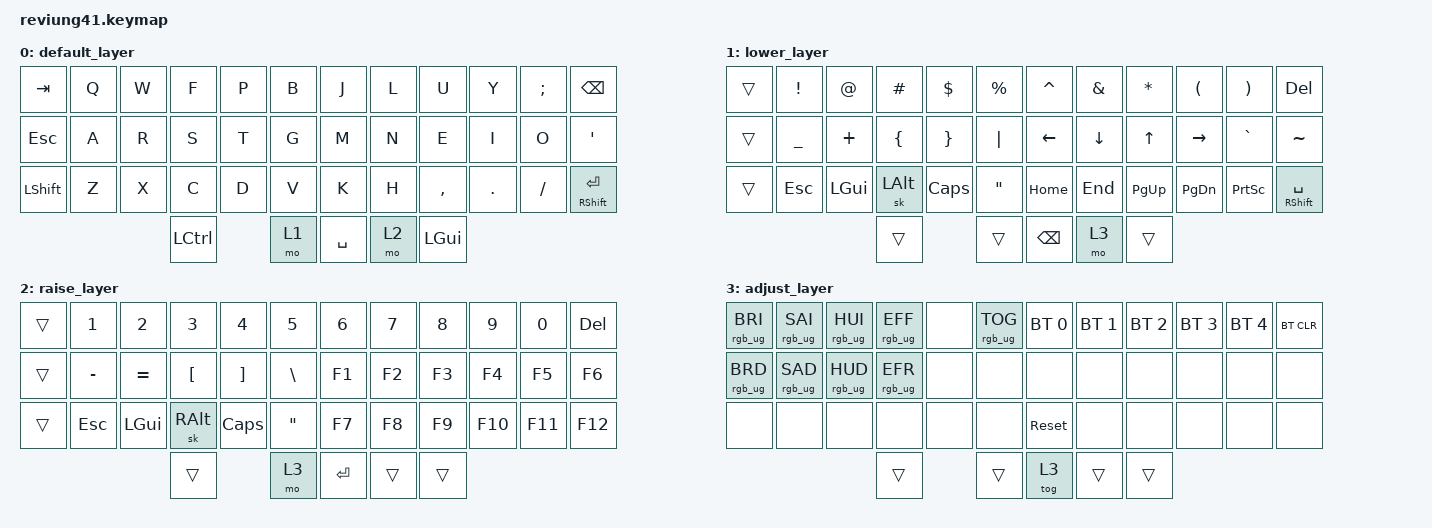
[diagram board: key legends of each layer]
/*
 * Copyright (c) 2020 The ZMK Contributors
 *
 * SPDX-License-Identifier: MIT
 */

#include <behaviors.dtsi>
#include <dt-bindings/zmk/keys.h>
#include <dt-bindings/zmk/bt.h>
#include <dt-bindings/zmk/rgb.h>

/ {
        keymap {
                compatible = "zmk,keymap";

                default_layer {
// -------------------------------------------------------------------------------------
// |  TAB |  Q  |  W  |  F  |  P  |  B  |   |  J  |  L   |  U  |  Y  |  ;  |   BSPC    |
// | ESC  |  A  |  R  |  S  |  T  |  G  |   |  M  |  N   |  E  |  I  |  O  |    '      |
// | SHFT |  Z  |  X  |  C  |  D  |  V  |   |  K  |  H   |  ,  |  .  |  /  | SHFT(RET) |
//                         | LCTRL | LWR | SPC | RSE  | LGUI |
                        bindings = <
   &kp TAB   &kp Q &kp W &kp F &kp P &kp B   &kp J &kp L  &kp U     &kp Y   &kp SEMI &kp BSPC
   &kp ESC   &kp A &kp R &kp S &kp T &kp G   &kp M &kp N  &kp E     &kp I   &kp O    &kp SQT
   &kp LSHFT &kp Z &kp X &kp C &kp D &kp V   &kp K &kp H  &kp COMMA &kp DOT &kp FSLH &mt RSHFT RET
                        &kp LCTRL  &mo 1 &kp SPACE &mo 2  &kp LGUI
                        >;
                };

                lower_layer {
// ------------------------------------------------------------------------------------
// |    |  !  |  @  |  #  |  $  |  %  |   |  ^  |  &  |  *  |  (  |  )  |      DEL    |
// |    |  _  |  +  |  {  |  }  | "|" |   | LFT | DWN |  UP | RGT |  `  |       ~     |
// |    | ESC | GUI | ALT | CAPS|  "  |   | HOME| END | PGUP| PGDN| PRSC| SHFT(SPACE) |
//                       |     |     | BSPC | ADJ |     |
                        bindings = <
   &trans &kp EXCL  &kp AT      &kp HASH &kp DLLR &kp PRCNT      &kp CARET &kp AMPS &kp ASTRK &kp LPAR  &kp RPAR  &kp DEL
   &trans &kp UNDER &kp PLUS    &kp LBRC &kp RBRC &kp PIPE       &kp LEFT  &kp DOWN &kp UP    &kp RIGHT &kp GRAVE &kp TILDE
   &trans &kp ESC   &kp LGUI    &sk LALT &kp CLCK &kp DQT        &kp HOME  &kp END  &kp PG_UP &kp PG_DN &kp PSCRN &mt RSHFT SPACE
                                 &trans      &trans       &kp BSPC        &mo 3       &trans
                        >;
                };

                raise_layer {
// ----------------------------------------------------------------------------
// |    |  1  |  2  |  3  |  4  |  5  |   |  6  |  7  |  8  |  9  |  0  | DEL |
// |    |  -  |  =  |  [  |  ]  |  \  |   | F1  | F2  | F3  | F4  | F5  | F6  |
// |    | ESC | GUI | ALT | CAPS|  "  |   | F7  | F8  | F9  | F10 | F11 | F12 |
//                       |     | ADJ | RET |    |     |
                        bindings = <
   &trans &kp N1    &kp N2    &kp N3    &kp N4    &kp N5        &kp N6    &kp N7    &kp N8    &kp N9    &kp N0    &kp DEL
   &trans &kp MINUS &kp EQUAL &kp LBKT  &kp RBKT  &kp BSLH      &kp F1    &kp F2    &kp F3    &kp F4    &kp F5    &kp F6
   &trans &kp ESC   &kp LGUI  &sk RALT  &kp CLCK  &kp DQT       &kp F7    &kp F8    &kp F9    &kp F10   &kp F11   &kp F12
                                &trans      &mo 3       &kp RET        &trans      &trans
                        >;
                };

                adjust_layer {
// -----------------------------------------------------------------------------------------
// | RGB BRI+ | RGB SAT+ | RGB HUE+ | RGB ANI+ |    | RGB TOG |   |  BT1  | BT2 | BT3 | BT4 | BT5 | BT CLR |
// | RGB BRI- | RGB SAT- | RGB HUE- | RGB ANI- |    |         |   |       |     |     |     |     |        |
// |          |          |          |          |    |         |   | RESET |     |     |     |     |        |
//                                              |     |     |     |     |     |
                        bindings = <
   &rgb_ug RGB_BRI &rgb_ug RGB_SAI &rgb_ug RGB_HUI &rgb_ug RGB_EFF &none &rgb_ug RGB_TOG    &bt BT_SEL 0 &bt BT_SEL 1 &bt BT_SEL 2 &bt BT_SEL 3 &bt BT_SEL 4 &bt BT_CLR
   &rgb_ug RGB_BRD &rgb_ug RGB_SAD &rgb_ug RGB_HUD &rgb_ug RGB_EFR &none &none              &none        &none        &none        &none        &none        &none
   &none           &none           &none           &none           &none &none              &sys_reset       &none        &none        &none        &none        &none
                                                             &trans      &trans       &tog 3        &trans      &trans
                        >;
                };
        };
};
